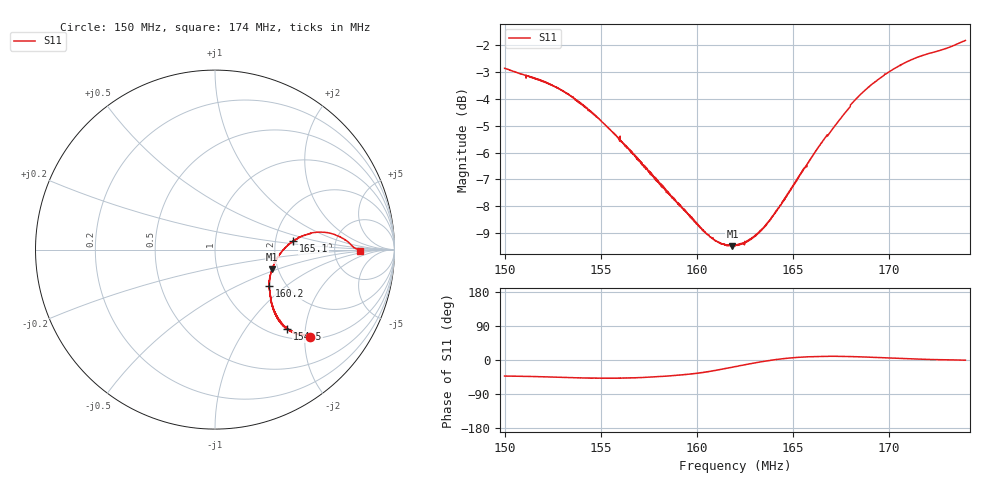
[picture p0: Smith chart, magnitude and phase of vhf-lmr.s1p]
! Calibrated averaged scanner-service zoom
# Hz S RI R 50
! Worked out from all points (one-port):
!   2001 points, 150 MHz to 174 MHz, reference 50 ohm
!   lowest |S11| = -9.5 dB at 161.9 MHz (marker M1), VSWR 2.01, Z = 92.9 - j22.9 ohm
!   |S11| at or under -10 dB: nowhere
!   S11 on the Smith chart (normalised r, x): 150 MHz: 1.06, -2.13; 154.5 MHz: 1.16, -1.59; 160.2 MHz: 1.64, -0.77; 165.1 MHz: 2.52, +0.30; 174 MHz: 9.47, -0.38
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1.5e8  0.5307 -0.4845
1.5186e8  0.4901 -0.4732
1.53e8  0.4552 -0.469
1.53564e8  0.4372 -0.4609
1.54512e8  0.4007 -0.4425
1.56e8  0.3551 -0.3922
1.57248e8  0.3309 -0.3412
1.59e8  0.3089 -0.2606
1.60188e8  0.3019 -0.203
1.61016e8  0.3051 -0.1566
1.61868e8  0.3175 -0.1093
1.62e8  0.3208 -0.1017
1.62564e8  0.3346 -0.0716
1.63368e8  0.359 -0.029
1.641e8  0.3868 0.00589
1.65e8  0.4315 0.044
1.65084e8  0.4364 0.0479
1.65888e8  0.4794 0.0725
1.6668e8  0.5253 0.088
1.66932e8  0.5372 0.093
1.68e8  0.6019 0.0969
1.68492e8  0.6335 0.0928
1.692e8  0.6691 0.083
1.69908e8  0.6999 0.069
1.71e8  0.7386 0.0452
1.7232e8  0.7692 0.0154
1.731e8  0.7846 0.00609
1.74e8  0.8092 -0.00687
